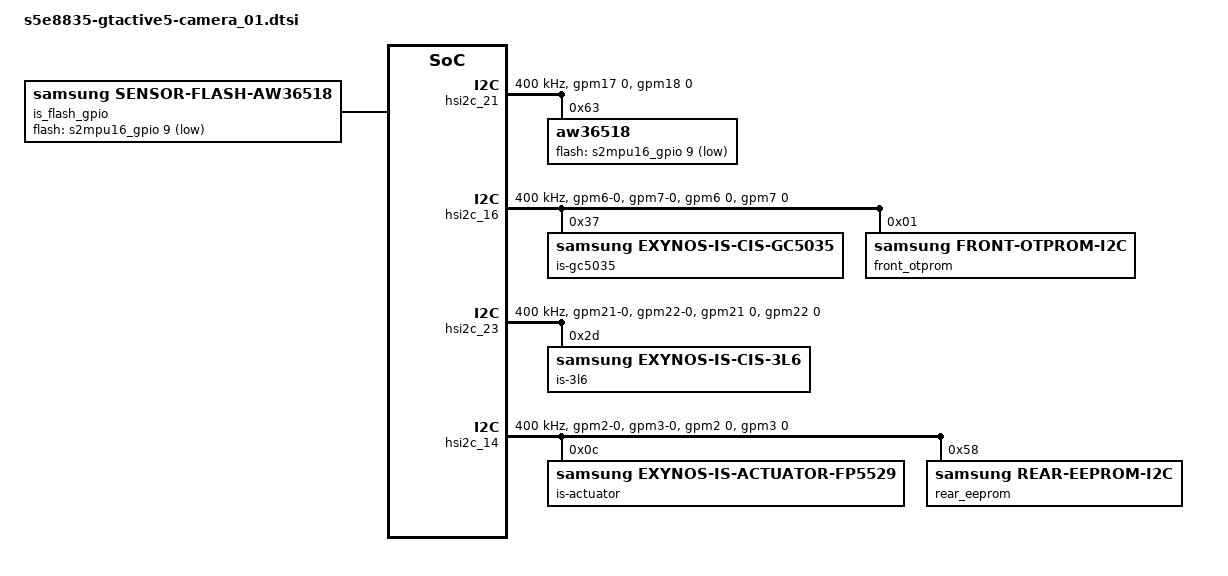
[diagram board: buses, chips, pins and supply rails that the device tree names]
/*
 * Samsung Exynos SoC series Pablo driver
 *
 * Copyright (c) 2023 Samsung Electronics Co., Ltd
 *
 * This program is free software; you can redistribute it and/or modify
 * it under the terms of the GNU General Public License version 2 as
 * published by the Free Software Foundation.
 */

#include <dt-bindings/camera/exynos_is_dt.h>
#include "module_3l6.dtsi"	/* Wide CAMERA */
#include "module_gc5035.dtsi"	/* Front CAMERA */

/ {
	fragment@camera {
		target-path = "/";
		__overlay__ {
			#address-cells = <2>;
			#size-cells = <1>;
			interrupt-parent = <&gic>;

			/* Wide CAMERA */
			is_sensor_3l6: is_sensor_3l6@5A {
				pinctrl-names = "pin0", "pin1", "pin2", "release";
				pinctrl-0 = <>;
				pinctrl-1 = <&sensor_mclk1_out>;
				pinctrl-2 = <&sensor_mclk1_fn>;
				pinctrl-3 = <>;

				/* board */
				position = <0>; /* Rear:0. Front:1, Tele:2 */
				id = <0>; /* is_sensor id */
				mclk_ch = <1>;
				sensor_i2c_ch = <0>; /* SENSOR_CONTROL_I2C0 */

				af {
					product_name = <27>; /* ACTUATOR_NAME_FP5529 */
					i2c_ch = <3>; /* SENSOR_CONTROL_I2C3 */
				};

				flash {
					product_name = <21>; /* FLADRV_NAME_AW36518 */
				};

				preprocessor {
					product_name = <100>; /* NOTHING */
				};

				power_seq {
					scenario_normal_on {
						20 { pname = "VDD_RCAM_A2P8"; pin = <PIN_OUTPUT 1 0>; gpio = <&s2mpu16_gpio 6 0x1>; };
						30 { pname = "VDD_RCAM_CORE_1P05"; pin = <PIN_OUTPUT 1 0>; gpio = <&s2mpu16_gpio 6 0x1>;};
						40 { pname = "CAM_VDDIO_1P8"; pin = <PIN_OUTPUT 1 0>; gpio = <&s2mpu16_gpio 8 0x1>; share = <SRT_ACQUIRE SHARED_PIN0 1>; };
					};
					scenario_normal_off {
						70 { pname = "CAM_VDDIO_1P8"; pin = <PIN_OUTPUT 0 500>; gpio = <&s2mpu16_gpio 8 0x1>; share = <SRT_RELEASE SHARED_PIN0 0>; };
						80 { pname = "VDD_RCAM_CORE_1P05"; pin = <PIN_OUTPUT 0 0>; gpio = <&s2mpu16_gpio 6 0x1>;};
						90 { pname = "VDD_RCAM_A2P8"; pin = <PIN_OUTPUT 0 0>; gpio = <&s2mpu16_gpio 6 0x1>; };
					};
					scenario_vision_on {
						20 { pname = "VDD_RCAM_A2P8"; pin = <PIN_OUTPUT 1 0>; gpio = <&s2mpu16_gpio 6 0x1>; };
						30 { pname = "VDD_RCAM_CORE_1P05"; pin = <PIN_OUTPUT 1 0>; gpio = <&s2mpu16_gpio 6 0x1>;};
						40 { pname = "CAM_VDDIO_1P8"; pin = <PIN_OUTPUT 1 0>; gpio = <&s2mpu16_gpio 8 0x1>; share = <SRT_ACQUIRE SHARED_PIN0 1>; };
					};
					scenario_vision_off {
						70 { pname = "CAM_VDDIO_1P8"; pin = <PIN_OUTPUT 0 500>; gpio = <&s2mpu16_gpio 8 0x1>; share = <SRT_RELEASE SHARED_PIN0 0>; };
						80 { pname = "VDD_RCAM_CORE_1P05"; pin = <PIN_OUTPUT 0 0>; gpio = <&s2mpu16_gpio 6 0x1>;};
						90 { pname = "VDD_RCAM_A2P8"; pin = <PIN_OUTPUT 0 0>; gpio = <&s2mpu16_gpio 6 0x1>; };
					};
					scenario_read_rom_on {
						20 { pname = "CAM_VDDIO_1P8"; pin = <PIN_OUTPUT 1 6000>; gpio = <&s2mpu16_gpio 8 0x1>; share = <SRT_ACQUIRE SHARED_PIN0 1>; };
					};
					scenario_read_rom_off {
						20 { pname = "CAM_VDDIO_1P8"; pin = <PIN_OUTPUT 0 2000>; gpio = <&s2mpu16_gpio 8 0x1>; share = <SRT_RELEASE SHARED_PIN0 0>; };
					};
				};
			};

			/* FRONT CAMERA */
			is_sensor_gc5035: is_sensor_gc5035@6E {
				pinctrl-names = "pin0", "pin1", "pin2", "release";
				pinctrl-0 = <>;
				pinctrl-1 = <&sensor_mclk2_out>;
				pinctrl-2 = <&sensor_mclk2_fn>;
				pinctrl-3 = <>;

				/* board */
				position = <1>;	/* Rear:0. Front:1. Rear_sub:2. */
				id = <1>; /* is_sensor id */
				mclk_ch = <2>;
				sensor_i2c_ch = <1>; /* SENSOR_CONTROL_I2C1 */

				power_seq {
					scenario_normal_on {
						20 { pname = "CAM_VDDIO_1P8"; pin = <PIN_OUTPUT 1 100>; gpio = <&s2mpu16_gpio 8 0x1>; share = <SRT_ACQUIRE SHARED_PIN0 1>; };
					};
					scenario_normal_off {
						90 { pname = "CAM_VDDIO_1P8"; pin = <PIN_OUTPUT 0 9000>; gpio = <&s2mpu16_gpio 8 0x1>; share = <SRT_RELEASE SHARED_PIN0 0>; };
					};
					scenario_vision_on {
						20 { pname = "CAM_VDDIO_1P8"; pin = <PIN_OUTPUT 1 100>; gpio = <&s2mpu16_gpio 8 0x1>; share = <SRT_ACQUIRE SHARED_PIN0 1>; };
					};
					scenario_vision_off {
						90 { pname = "CAM_VDDIO_1P8"; pin = <PIN_OUTPUT 0 9000>; gpio = <&s2mpu16_gpio 8 0x1>; share = <SRT_RELEASE SHARED_PIN0 0>; };
					};
					scenario_read_rom_on {
						20 { pname = "CAM_VDDIO_1P8"; pin = <PIN_OUTPUT 1 100>; gpio = <&s2mpu16_gpio 8 0x1>; share = <SRT_ACQUIRE SHARED_PIN0 1>; };
					};
					scenario_read_rom_off {
						90 { pname = "CAM_VDDIO_1P8"; pin = <PIN_OUTPUT 0 9000>; gpio = <&s2mpu16_gpio 8 0x1>; share = <SRT_RELEASE SHARED_PIN0 0>; };
					};
				};
			};

			is_flash_gpio: is-flash-gpio@0 {
				compatible = "samsung,sensor-flash-aw36518";
				sensor-module = <&is_sensor_3l6>;
				id = <0>;
				status = "okay";
				flash-gpio = <&s2mpu16_gpio 9 0x1>;
			};

			/* Wide CAMERA */
			is_sensor0: is_sensor0@15030000 {
				#address-cells = <1>;
				#size-cells = <1>;
				scenario = <SENSOR_SCENARIO_NORMAL>;    /* Normal, Vision, OIS etc */
				id = <0>;
				csi_ch = <0>;
				status = "okay";
				use_cphy = <0>;

				interrupts = <0 INTREQ__CSIS0 IRQ_TYPE_LEVEL_HIGH>; /*MIPI-CSI0 */
				interrupt-names = "csi";
				phys = <&mipi_phy_csis0_m0s4s4s4s4_s22 0>;
				phy_setfile = <&dphy_setfile>;
				phy_tune_default_mode = "4128 3096 30";
			};

			/* FRONT CAMERA */
			is_sensor1: is_sensor1@15040000 {
				#address-cells = <1>;
				#size-cells = <1>;
				reg = <0x0 0x15060000 0x1000>, /* MIPI-CSI3 */
						<0x0 0x150F0000 0x10000>; /* PHY: M0S4S4S4S4S2S1 */
				scenario = <SENSOR_SCENARIO_NORMAL>;    /* Normal, Vision, OIS etc */
				id = <1>;
				csi_ch = <3>;
				status = "okay";
				use_cphy = <0>;

				interrupts = <0 INTREQ__CSIS3 IRQ_TYPE_LEVEL_HIGH>; /* MIPI-CSI3 */
				phys = <&mipi_phy_csis3_m0s4s4s4s4_s22 0>;
				phy_setfile = <&dphy_setfile>;
				phy_tune_default_mode = "2576 1932 30";
			};
		}; /* end of __overlay__ */
	}; /* end of fragment */
}; /* end of root */

/***** reference symbol node *****/
/* GPIO_PERI */
&pinctrl_1 {
	/* FRONT i2c1 */
	hsi2c16_bus: hsi2c16-bus {
			samsung,pins = "gpm6-0", "gpm7-0";
			samsung,pin-function = <3>;
			samsung,pin-pud = <5>;
			samsung,pin-drv = <0>;
	};

	hsi2c16_bus_in: hsi2c16-bus-in {
			samsung,pins = "gpm6-0", "gpm7-0";
			samsung,pin-function = <0>;
			samsung,pin-pud = <1>;
			samsung,pin-drv = <0>;
	};

	/* REAR Wide : i2c0 */
	hsi2c23_bus: hsi2c23-bus {
			samsung,pins = "gpm21-0", "gpm22-0";
			samsung,pin-function = <2>;
			samsung,pin-pud = <3>;
			samsung,pin-drv = <0>;
	};

	hsi2c23_bus_in: hsi2c23-bus-in {
			samsung,pins = "gpm21-0", "gpm22-0";
			samsung,pin-function = <0>;
			samsung,pin-pud = <1>;
			samsung,pin-drv = <0>;
	};

	/* EEP/AF i2c7 */
	hsi2c14_bus: hsi2c14-bus {
			samsung,pins = "gpm2-0", "gpm3-0";
			samsung,pin-function = <3>;
			samsung,pin-pud = <0>;
			samsung,pin-drv = <0>;
	};

	hsi2c14_bus_in: hsi2c14-bus-in {
			samsung,pins = "gpm2-0", "gpm3-0";
			samsung,pin-function = <0>;
			samsung,pin-pud = <0>;
			samsung,pin-drv = <0>;
	};
};

&pinctrl_3 {
	/* Override mclk2 of front sensor to match MCLK Rise/Fall time to min 10ns */
	sensor_mclk2_out: sensor-mclk2-out {
		samsung,pins = "gpg0-4";	/* CIS_CLK2 : VTCAM_MCLK */
		samsung,pin-function = <1>;
		samsung,pin-pud = <1>;
		samsung,pin-drv = <2>;
	};

	sensor_mclk2_fn: sensor-mclk2-fn {
		samsung,pins = "gpg0-4";	/* CIS_CLK2 : VTCAM_MCLK */
		samsung,pin-function = <2>;
		samsung,pin-pud = <0>;
		samsung,pin-drv = <2>;
	};
};

&hsi2c_21 {
	#address-cells = <1>;
	#size-cells = <0>;
	status = "okay";
	gpios = <&gpm17 0 0 &gpm18 0 0>;
	clock-frequency = <400000>;

	aw36518@63 {
		compatible = "aw36518";
		reg = <0x63>;
		flash-gpio = <&s2mpu16_gpio 9 0x1>;
		torch_level_1_cur = <50>;
		torch_level_2_cur = <75>;
		torch_level_3_cur = <125>;
		torch_level_4_cur = <175>;
		torch_level_5_cur = <225>;
		pre_flash_cur = <225>;
		main_flash_cur = <1300>;
		video_torch_cur = <225>;
		status = "okay";
	};
};

&hsi2c_16 {
	#address-cells = <1>;
	#size-cells = <0>;
	gpios = <&gpm6 0 0 &gpm7 0 0>;
	status = "okay";
	clock-frequency = <400000>;
	samsung,reset-before-trans;

	pinctrl-names = "default","on_i2c","off_i2c";
	pinctrl-0 = <&hsi2c16_bus_in>;
	pinctrl-1 = <&hsi2c16_bus>;
	pinctrl-2 = <&hsi2c16_bus_in>;

	is-gc5035@6E {
		compatible = "samsung,exynos-is-cis-gc5035";
		sensor-module = <&is_sensor_gc5035>;
		reg = <0x37>; /* 1 bit right shift */
		id = <1>; /* matching is_sensor id */
		setfile = "setA";
		status = "okay";
		use_initial_ae;
	};

	front_otprom@6E { 
		compatible = "samsung,front-otprom-i2c";
		reg = <0x01>;

		rom_power_position = <1>;
		rom_size = <0x0100>;
		cal_map_es_version = <1>;
		camera_module_es_version = "A";
		/*skip_cal_loading;*/

		/* Universal_GC5035_OTP_map_V002_for_TabActive3_frontcam_LSI_LhotseAP_20200324.xlsx */
		/* 0 header */
		header_crc_check_list	= <0x0010 0x00AB 0x00AC>;
		/* Master */
		rom_header_version_start_addr	= <0x0020>;
		rom_header_cal_data_start_addr	= <0x00B0>;
		rom_header_cal_map_ver_start_addr	= <0x0030>;
		rom_header_project_name_start_addr	= <0x0038>;
		rom_header_module_id_addr	= <0x0086>; /* 0x0080 + reserved bytes */
		rom_header_sensor_id_addr	= <0x0090>;
		rom_awb_master_addr	= <0x00B0>;
	};
};

&hsi2c_23 {
	#address-cells = <1>;
	#size-cells = <0>;
	gpios = <&gpm21 0 0 &gpm22 0 0>;
	status = "okay";
	clock-frequency = <400000>;
	samsung,reset-before-trans;

	pinctrl-names = "default","on_i2c","off_i2c";
	pinctrl-0 = <&hsi2c23_bus_in>;
	pinctrl-1 = <&hsi2c23_bus>;
	pinctrl-2 = <&hsi2c23_bus_in>;

	is-3l6@5A {
		compatible = "samsung,exynos-is-cis-3l6";
		sensor-module = <&is_sensor_3l6>;
		reg = <0x2D>; /* 1 bit right shift */
		id = <0>; /* matching is_sensor id */
		setfile = "setA";
		status = "okay";
		rev_reg = <0x0002 1>;
	};
};

&hsi2c_14 {
	#address-cells = <1>;
	#size-cells = <0>;
	gpios = <&gpm2 0 0 &gpm3 0 0>;
	status = "okay";
	clock-frequency = <400000>;
	samsung,reset-before-trans;

	pinctrl-names = "default","on_i2c","off_i2c";
	pinctrl-0 = <&hsi2c14_bus_in>;
	pinctrl-1 = <&hsi2c14_bus>;
	pinctrl-2 = <&hsi2c14_bus_in>;

	is-actuator@18 {
		compatible = "samsung,exynos-is-actuator-fp5529";
		sensor-module = <&is_sensor_3l6>;
		reg = <0x0C>;
		id = <0>; /* matching is_sensor id */
	};

	rear_eeprom@B0 {
		compatible = "samsung,rear-eeprom-i2c";
		reg = <0x58>;

		rom_power_position = <0>;
		rom_size = <0x4000>;
		cal_map_es_version = <1>;
		camera_module_es_version = "A";
		/*skip_cal_loading;*/
		/* TabActive3_Rear_Cal_Map_V018_20200529_for_LSI.xlsx */

		/* 0 header */
		header_crc_check_list = <0x0000 0x00FB 0x00FC>;
		crc_check_list = <0x0100 0x1AFB 0x1AFC>;

		/* Master */
		rom_header_version_start_addr = <0x40>;
		rom_header_cal_data_start_addr = <0x1B00>;
		rom_header_cal_map_ver_start_addr = <0x50>;
		rom_header_project_name_start_addr = <0x5E>;
		rom_header_module_id_addr = <0xAE>; /* 0xA8 + reserved bytes */
		rom_header_sensor_id_addr = <0xB8>;
		rom_awb_master_addr = <0x3340>;
		rom_awb_module_addr = <0x3360>;
		rom_af_cal_addr = <0x3320 0x03314 0x3318>; /* Near Far Mid1 ... Mid7 */
	};
};

&exynos_is {

	vender {
		use_module_check;
		//use_ois;
		check_sensor_vendor;
		ois_sensor_index = <0>;
		aperture_sensor_index = <0>;
		mcu_sensor_index = <0>;
		/*skip_cal_loading;*/

		is_vendor_sensor_count = <2>;
		max_supported_camera = <2>;
		supported_cameraId = <0 1>;

		/*
		* Wide(0)
		* Front(1)
		* U Wide(2)
		* Front 80(3) - not available for factory
		* Front Secure(5) - not available for factory
		* DUAL_REAR_PORTRAIT_WIDE(23)
		* Bokeh(52)
		* Rear_UW(58)
		* Macro(60)
		*/

		/* sysfs camera id */
		max_camera_num = <2>;
		sensor_id { /* sensor position = <sensor_id> */
			0 = <59>;	/* 3L6 */
			1 = <210>;	/* GC5035 */
		};

		camera_info0 {			/* 0 : sysfs rear */
			internal_id = <0>;	/* 0 : wide */
			isp = <0>;		/* 0 : INT, 1 : EXT, 2 : SOC */
			cal_memory = <2>;	/* 0 : N, 1 : FROM, 2 : EEPROM, 3 : OTP */
			read_version = <0>;	/* 0 : SYSFS, 1 : CAMON */
			core_voltage = <0>;	/* 0 : N, 1 : Y */
			upgrade = <0>;		/* 0 : N, 1 : SYSFS , 2 : CAMON */
			fw_write = <0>;		/* 0 : N, 1 : OS, 2 : SD, 3 : ALL */
			fw_dump = <0>;		/* 0 : N, 1 : Y */
			companion = <0>;	/* 0 : N, 1 : Y */
			ois = <0>;		/* 0 : N, 1 : Y */
			valid = <1>;		/* 0 : INVALID, 1 : VALID */
		};
		camera_info1 {			/* 1 : sysfs front */
			internal_id = <1>;	/* 1 : front master */
			isp = <0>;		/* 0 : INT, 1 : EXT, 2 : SOC */
			cal_memory = <3>;	/* 0 : N, 1 : FROM, 2 : EEPROM, 3 : OTP */
			read_version = <0>;	/* 0 : SYSFS, 1 : CAMON */
			core_voltage = <0>;	/* 0 : N, 1 : Y */
			upgrade = <0>;		/* 0 : N, 1 : SYSFS, 2 : CAMON */
			fw_write = <0>;		/* 0 : N, 1 : OS, 2 : SD, 3 : ALL */
			fw_dump = <0>;		/* 0 : N, 1 : Y */
			companion = <0>;	/* 0 : N, 1 : Y */
			ois = <0>;		/* 0 : N, 1 : Y */
			valid = <1>;		/* 0 : INVALID, 1 : VALID */
		};
	};

	is_dvfs {
		#define CPU_CL0	"0-5"
		#define CPU_CL1	"6-7"
		#define CPU_ALL	"0-7"

		table0 {
			desc = "dvfs table v0.2";

			default_csis = <1>;
			default_cam = <1>;
			default_isp = <1>;
			default_m2m = <1>;
			default_mif = <1>;
			default_cpu = CPU_CL0;

			rear_single_photo_isp = <6>;
			rear_single_photo_mif = <3>;
			rear_single_photo_cpu = CPU_CL0;

			rear_single_capture_cam = <1>;
			rear_single_capture_isp = <1>;
			rear_single_capture_mif = <0>;
			rear_single_capture_cpu = CPU_CL0;

			rear_single_video_hd30_isp = <5>;
			rear_single_video_hd30_mif = <3>;
			rear_single_video_hd30_cpu = CPU_CL0;

			rear_single_video_fhd30_isp = <5>;
			rear_single_video_fhd30_mif = <3>;
			rear_single_video_fhd30_cpu = CPU_CL0;

			rear_single_video_uhd30_cam = <3>;
			rear_single_video_uhd30_isp = <3>;
			rear_single_video_uhd30_mif = <0>;
			rear_single_video_uhd30_cpu = CPU_CL0;

			rear_single_fastae_cam = <1>;
			rear_single_fastae_csis = <1>;
			rear_single_fastae_isp = <1>;
			rear_single_fastae_m2m = <1>;
			rear_single_fastae_mif = <1>;
			rear_single_fastae_cpu = CPU_CL0;

			rear_single_vt_isp = <6>;
			rear_single_vt_mif = <3>;
			rear_single_vt_cpu = CPU_CL0;

			front_single_photo_full_m2m = <4>;

			front_single_photo_isp = <6>;
			front_single_photo_m2m = <3>;
			front_single_photo_mif = <3>;
			front_single_photo_cpu = CPU_CL0;

			front_single_capture_cam = <1>;
			front_single_capture_isp = <1>;
			front_single_capture_m2m = <3>;
			front_single_capture_mif = <0>;
			front_single_capture_cpu = CPU_CL0;

			front_single_video_hd30_isp = <5>;
			front_single_video_hd30_m2m = <3>;
			front_single_video_hd30_mif = <3>;
			front_single_video_hd30_cpu = CPU_CL0;

			front_single_video_fhd30_isp = <5>;
			front_single_video_fhd30_m2m = <3>;
			front_single_video_fhd30_mif = <3>;
			front_single_video_fhd30_cpu = CPU_CL0;

			front_single_video_uhd30_isp = <3>;
			front_single_video_uhd30_m2m = <3>;
			front_single_video_uhd30_mif = <0>;
			front_single_video_uhd30_cpu = CPU_CL0;

			front_single_fastae_cam = <1>;
			front_single_fastae_csis = <1>;
			front_single_fastae_isp = <1>;
			front_single_fastae_m2m = <1>;
			front_single_fastae_mif = <1>;
			front_single_fastae_cpu = CPU_CL0;

			front_single_vt_isp = <6>;
			front_single_vt_m2m = <3>;
			front_single_vt_mif = <3>;
			front_single_vt_cpu = CPU_CL0;

			pip_dual_photo_isp = <5>;
			pip_dual_photo_mif = <3>;
			pip_dual_photo_cpu = CPU_CL0;

			pip_dual_capture_cam = <0>;
			pip_dual_capture_isp = <1>;
			pip_dual_capture_m2m = <1>;
			pip_dual_capture_mif = <3>;
			pip_dual_capture_cpu = CPU_CL0;

			pip_dual_video_fhd30_isp = <1>;
			pip_dual_video_fhd30_mif = <3>;
			pip_dual_video_fhd30_cpu = CPU_CL0;

			sensor_only_rear_single_cam = <1>;
			sensor_only_rear_single_csis = <1>;
			sensor_only_rear_single_isp = <1>;
			sensor_only_rear_single_m2m = <1>;
			sensor_only_rear_single_mif = <1>;
			sensor_only_rear_single_cpu = CPU_CL0;

			sensor_only_front_cam = <1>;
			sensor_only_front_csis = <1>;
			sensor_only_front_isp = <1>;
			sensor_only_front_m2m = <1>;
			sensor_only_front_mif = <1>;
			sensor_only_front_cpu = CPU_CL0;

			throttling_cam = <0>;
			throttling_csis = <0>;
			throttling_isp = <0>;
			throttling_m2m = <0>;
			throttling_mif = <0>;
			throttling_hpg = <0>;
			throttling_cpu = CPU_CL0;

			max_cam = <1>;
			max_csis = <1>;
			max_isp = <1>;
			max_m2m = <1>;
			max_mif = <1>;
			max_cpu = CPU_CL0;
		};
	};
};
